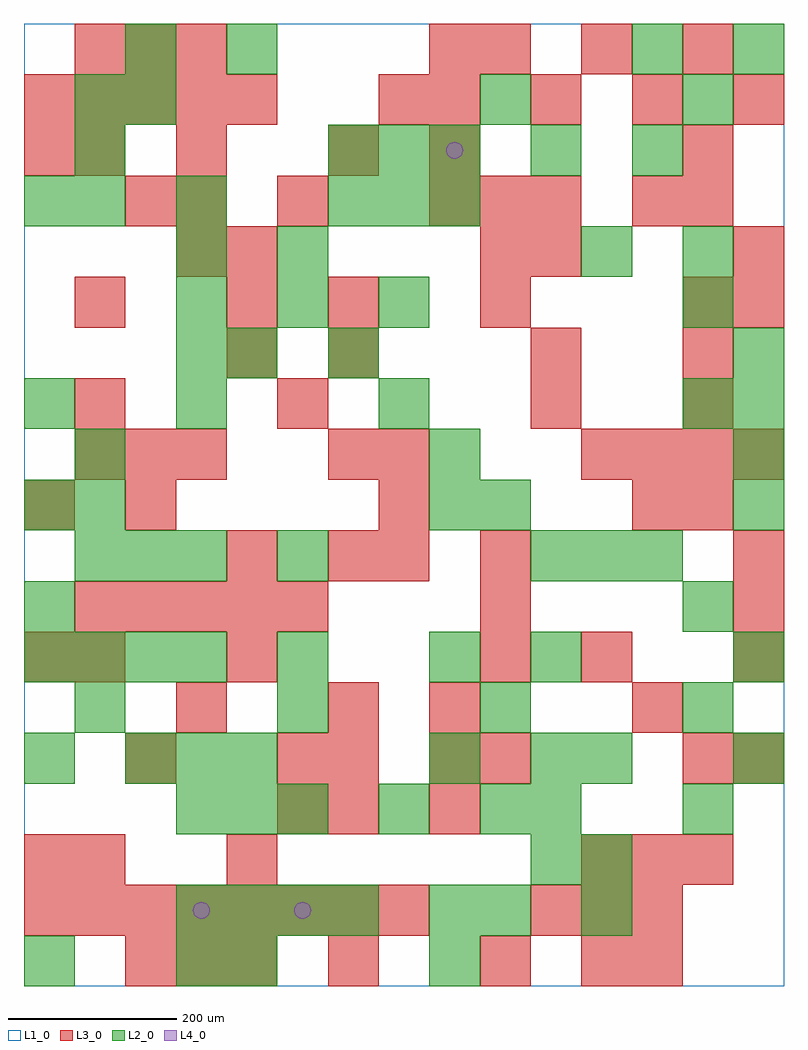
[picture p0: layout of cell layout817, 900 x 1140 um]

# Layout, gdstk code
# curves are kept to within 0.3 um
import gdstk
lib = gdstk.Library(unit=1e-6, precision=1e-09)
def R(c, l, rs):  # rectangles x0, y0, x1, y1
    for r in rs: c.add(gdstk.rectangle(r[:2], r[2:], *l))
def A(c, l, x, y, w, h, nx, ny, dx, dy):  # array of equal rectangles
    R(c, l, [(x+i*dx, y+j*dy, x+i*dx+w, y+j*dy+h) for i in range(nx) for j in range(ny)])
def P(c, l, *ps):  # polygons
    for p in ps: c.add(gdstk.Polygon(p, *l))
L1_0 = (1, 0)
L2_0 = (2, 0)
L3_0 = (3, 0)
L4_0 = (4, 0)

layout817 = lib.new_cell('layout817')
R(layout817, L1_0, [(0,0,900,1140)])
A(layout817, L2_0, 180, 60, 60, 60, 4, 1, 60, 0)
A(layout817, L2_0, 600, 120, 60, 60, 1, 3, 0, 60)
A(layout817, L2_0, 180, 180, 60, 60, 3, 1, 60, 0)
A(layout817, L2_0, 780, 180, 60, 60, 1, 3, 0, 240)
A(layout817, L2_0, 120, 240, 60, 60, 3, 1, 60, 0)
A(layout817, L2_0, 60, 300, 60, 60, 4, 1, 240, 0)
A(layout817, L2_0, 0, 360, 60, 60, 4, 1, 60, 0)
A(layout817, L2_0, 0, 420, 60, 60, 1, 3, 0, 120)
A(layout817, L2_0, 60, 480, 60, 60, 3, 1, 60, 0)
A(layout817, L2_0, 600, 480, 60, 60, 3, 1, 60, 0)
A(layout817, L2_0, 840, 540, 60, 60, 1, 4, 0, 60)
A(layout817, L2_0, 180, 780, 60, 60, 3, 1, 120, 0)
A(layout817, L2_0, 60, 900, 60, 60, 1, 3, 0, 60)
A(layout817, L2_0, 360, 900, 60, 60, 3, 2, 60, 60)
R(layout817, L2_0, [(0,0,60,60), (180,0,240,60), (240,0,300,60), (480,0,540,60), (480,60,540,120), (540,60,600,120), (660,60,720,120), (660,120,720,180), (420,180,480,240), (540,180,600,240), (0,240,60,300), (480,240,540,300), (660,240,720,300), (840,240,900,300), (300,360,360,420), (480,360,540,420), (600,360,660,420), (840,360,900,420), (300,480,360,540), (60,540,120,600), (480,540,540,600), (540,540,600,600), (60,600,120,660), (480,600,540,660), (180,660,240,720), (420,660,480,720), (180,720,240,780), (240,720,300,780), (360,720,420,780), (780,780,840,840), (180,840,240,900), (300,840,360,900), (660,840,720,900), (780,840,840,900), (0,900,60,960), (180,900,240,960), (600,960,660,1020), (720,960,780,1020), (120,1020,180,1080), (540,1020,600,1080), (780,1020,840,1080), (120,1080,180,1140), (240,1080,300,1140), (720,1080,780,1140), (840,1080,900,1140)])
A(layout817, L3_0, 120, 0, 60, 60, 3, 1, 60, 0)
A(layout817, L3_0, 0, 60, 60, 60, 8, 1, 60, 0)
A(layout817, L3_0, 600, 60, 60, 60, 3, 1, 60, 0)
A(layout817, L3_0, 660, 120, 60, 60, 3, 1, 60, 0)
A(layout817, L3_0, 360, 180, 60, 60, 1, 3, 0, 60)
A(layout817, L3_0, 480, 180, 60, 60, 1, 3, 0, 60)
A(layout817, L3_0, 540, 360, 60, 60, 1, 3, 0, 60)
A(layout817, L3_0, 840, 360, 60, 60, 1, 3, 0, 60)
A(layout817, L3_0, 60, 420, 60, 60, 5, 1, 60, 0)
A(layout817, L3_0, 360, 480, 60, 60, 1, 3, 0, 120)
A(layout817, L3_0, 120, 540, 60, 60, 3, 1, 300, 0)
A(layout817, L3_0, 60, 600, 60, 60, 3, 2, 60, 480)
A(layout817, L3_0, 660, 600, 60, 60, 4, 1, 60, 0)
A(layout817, L3_0, 780, 660, 60, 60, 1, 3, 0, 60)
A(layout817, L3_0, 240, 720, 60, 60, 1, 3, 0, 60)
A(layout817, L3_0, 180, 840, 60, 60, 1, 3, 0, 60)
A(layout817, L3_0, 480, 900, 60, 60, 3, 1, 60, 0)
A(layout817, L3_0, 0, 1020, 60, 60, 5, 1, 60, 0)
A(layout817, L3_0, 480, 1020, 60, 60, 4, 1, 120, 0)
A(layout817, L3_0, 540, 1080, 60, 60, 3, 1, 120, 0)
R(layout817, L3_0, [(360,0,420,60), (540,0,600,60), (660,0,720,60), (720,0,780,60), (0,120,60,180), (60,120,120,180), (240,120,300,180), (300,180,360,240), (120,240,180,300), (300,240,360,300), (540,240,600,300), (780,240,840,300), (840,240,900,300), (180,300,240,360), (720,300,780,360), (0,360,60,420), (60,360,120,420), (240,360,300,420), (660,360,720,420), (240,480,300,540), (420,480,480,540), (0,540,60,600), (780,540,840,600), (420,600,480,660), (60,660,120,720), (300,660,360,720), (600,660,660,720), (600,720,660,780), (60,780,120,840), (360,780,420,840), (540,780,600,840), (840,780,900,840), (540,840,600,900), (600,840,660,900), (840,840,900,900), (120,900,180,960), (300,900,360,960), (720,900,780,960), (780,900,840,960), (0,960,60,1020), (60,960,120,1020), (360,960,420,1020), (480,960,540,1020), (780,960,840,1020), (420,1020,480,1080), (480,1080,540,1140)])
P(layout817, L4_0, [(220,90),(219.239,93.827),(217.071,97.071),(213.827,99.239),(210,100),(206.173,99.239),(202.929,97.071),(200.761,93.827),(200,90),(200.761,86.173),(202.929,82.929),(206.173,80.761),(210,80),(213.827,80.761),(217.071,82.929),(219.239,86.173)],
  [(340,90),(339.239,93.827),(337.071,97.071),(333.827,99.239),(330,100),(326.173,99.239),(322.929,97.071),(320.761,93.827),(320,90),(320.761,86.173),(322.929,82.929),(326.173,80.761),(330,80),(333.827,80.761),(337.071,82.929),(339.239,86.173)],
  [(520,990),(519.239,993.827),(517.071,997.071),(513.827,999.239),(510,1000),(506.173,999.239),(502.929,997.071),(500.761,993.827),(500,990),(500.761,986.173),(502.929,982.929),(506.173,980.761),(510,980),(513.827,980.761),(517.071,982.929),(519.239,986.173)])

lib.write_gds('layout817.gds')
